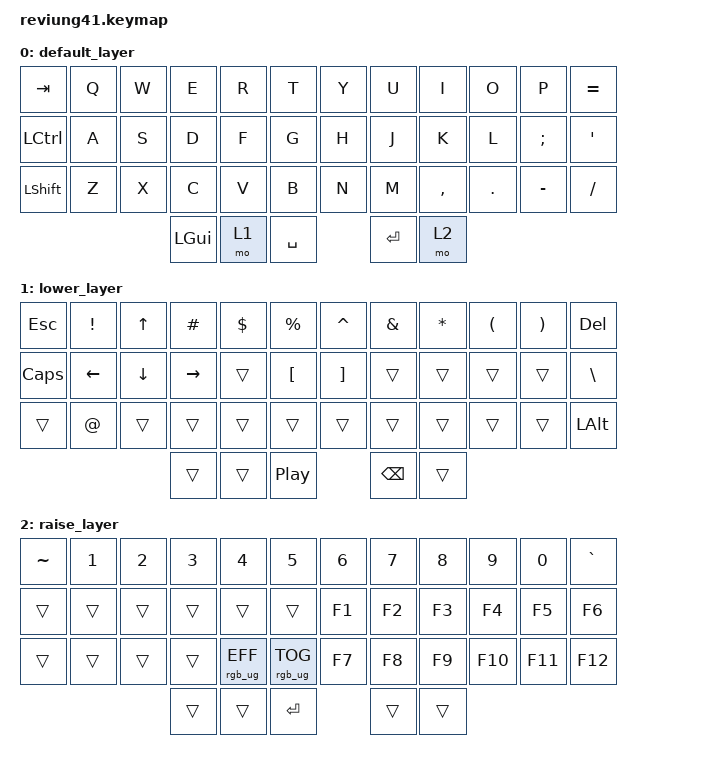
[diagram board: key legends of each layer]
/*
 * Copyright (c) 2020 The ZMK Contributors
 *
 * SPDX-License-Identifier: MIT
 */

#include <behaviors.dtsi>
#include <dt-bindings/zmk/keys.h>
#include <dt-bindings/zmk/bt.h>
#include <dt-bindings/zmk/rgb.h>

/ {
        keymap {
                compatible = "zmk,keymap";

                default_layer {
// -------------------------------------------------------------------------------------
// |  TAB |  Q  |  W  |  E  |  R  |  T  |   |  Y  |  U   |  I  |  O  |  P  |  = |
// | CTRL |  A  |  S  |  D  |  F  |  G  |   |  H  |  J   |  K  |  L  |  ;  |  '  |
// | SHFT |  Z  |  X  |  C  |  V  |  B  |   |  N  |  M   |  ,  |  .  |  -  |  / |
//                         | LGUI | MO1 | SPC | RET | MO2 |
                        bindings = <
   &kp TAB   &kp Q &kp W &kp E &kp R &kp T   &kp Y &kp U  &kp I     &kp O   &kp P    &kp EQUAL
   &kp LCTRL &kp A &kp S &kp D &kp F &kp G   &kp H &kp J  &kp K     &kp L   &kp SEMI &kp SQT
   &kp LSHFT &kp Z &kp X &kp C &kp V &kp B   &kp N &kp M  &kp COMMA &kp DOT &kp MINUS &kp FSLH
                        &kp LGUI  &mo 1 &kp SPACE &kp RET  &mo 2 
                        >;
                };

                lower_layer {
// ------------------------------------------------------------------------------------
// | ESC  |  !  |  UP |  #  |  $  |  % |  |  ^  |  &  |  *  |  (  |  )  |   DEL |
// | CAPS | LFT | DWN | RGT |     | [  |  |  ]  |     |     |     |     |    \    |
// |      |  @  |     |     |     |    |  |     |     |     |     |     |   ALT   |
//                       |     |     | PLAY |    |     |
                        bindings = <
   &kp ESC &kp EXCL  &kp UP   &kp HASH &kp DLLR &kp PERCENT      &kp CARET &kp AMPS &kp STAR &kp LPAR  &kp RPAR  &kp DEL
   &kp CAPS &kp LEFT &kp DOWN &kp RIGHT &trans &kp LBKT       &kp RBKT  &trans &trans &trans &trans &kp BSLH
   &trans &kp AT   &trans    &trans &trans &trans        &trans  &trans  &trans &trans &trans &kp LALT
                        &trans      &trans       &kp C_PP        &kp BSPC	&trans
                        >;
                };

                raise_layer {
// ----------------------------------------------------------------------------
// |  ~ |  1  |  2  |  3  |  4      |  5      |   |  6  |  7  |  8  |  9  |  0  |  `  |
// |    |     |     |     |         |         |   | F1  | F2  | F3  | F4  | F5  | F6  |
// |    |     |     |     | RGB_MOD | RGB_TOG |   | F7  | F8  | F9  | F10 | F11 | F12 |
//                               |     |     | RET |    |     |
                        bindings = <
   &kp TILDE &kp N1    &kp N2    &kp N3    &kp N4    &kp N5        &kp N6    &kp N7    &kp N8    &kp N9    &kp N0    &kp GRAVE
   &trans &trans &trans &trans  &trans  &trans      &kp F1    &kp F2    &kp F3    &kp F4    &kp F5    &kp F6
   &trans &trans   &trans  &trans  &rgb_ug RGB_EFF  &rgb_ug RGB_TOG       &kp F7    &kp F8    &kp F9    &kp F10   &kp F11   &kp F12
                                &trans      &trans       &kp RET        &trans      &trans
                        >;
                };
        };
};



